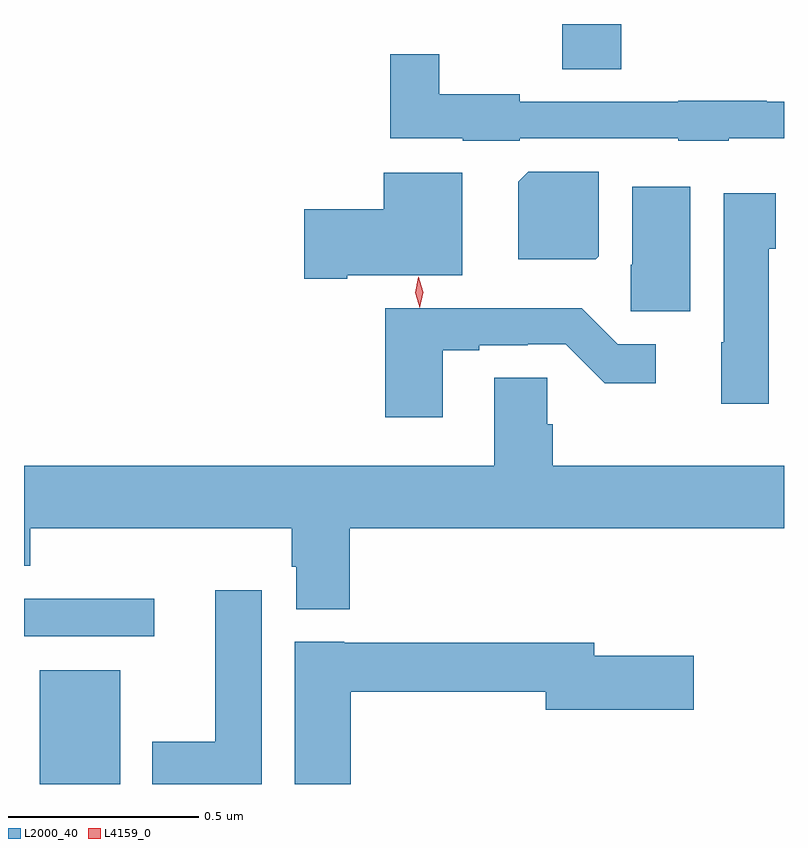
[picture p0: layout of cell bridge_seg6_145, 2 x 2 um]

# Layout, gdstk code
import gdstk
lib = gdstk.Library(unit=1e-6, precision=1e-09)
def R(c, l, rs):  # rectangles x0, y0, x1, y1
    for r in rs: c.add(gdstk.rectangle(r[:2], r[2:], *l))
def P(c, l, *ps):  # polygons
    for p in ps: c.add(gdstk.Polygon(p, *l))
L2000_40 = (2000, 40)
L4159_0 = (4159, 0)

bridge_seg6_145 = lib.new_cell('bridge_seg6_145')
R(bridge_seg6_145, L2000_40, [(568.052,929.347,568.264,929.647), (568.011,929.736,568.354,929.834), (569.428,931.228,569.583,931.347)])
P(bridge_seg6_145, L2000_40, [(569.316,931.047),(569.733,931.047),(569.733,931.04),(569.865,931.04),(569.865,931.046),(570.011,931.046),(570.011,931.143),(569.965,931.143),(569.965,931.145),(569.733,931.145),(569.733,931.143),(569.316,931.143),(569.316,931.162),(569.104,931.162),(569.104,931.267),(568.975,931.267),(568.975,931.046),(569.166,931.046),(569.166,931.04),(569.316,931.04)],
  [(569.524,930.736),(569.524,930.958),(569.338,930.958),(569.312,930.932),(569.312,930.728),(569.516,930.728)],
  [(568.862,930.686),(569.164,930.686),(569.164,930.956),(568.958,930.956),(568.958,930.86),(568.749,930.86),(568.749,930.677),(568.862,930.677)],
  [(569.764,930.919),(569.612,930.919),(569.612,930.714),(569.608,930.714),(569.608,930.591),(569.764,930.591)],
  [(569.971,930.756),(569.989,930.756),(569.989,930.901),(569.852,930.901),(569.852,930.51),(569.846,930.51),(569.846,930.348),(569.971,930.348)],
  [(569.113,930.489),(569.209,930.489),(569.209,930.501),(569.336,930.501),(569.336,930.504),(569.436,930.504),(569.539,930.402),(569.674,930.402),(569.674,930.504),(569.574,930.504),(569.479,930.599),(568.961,930.599),(568.961,930.312),(569.113,930.312)],
  [(568.868,930.02),(570.011,930.02),(570.011,930.184),(569.402,930.184),(569.402,930.294),(569.388,930.294),(569.388,930.416),(569.249,930.416),(569.249,930.184),(568.011,930.184),(568.011,929.921),(568.028,929.921),(568.028,930.02),(568.715,930.02),(568.715,929.919),(568.727,929.919),(568.727,929.807),(568.868,929.807)],
  [(568.636,929.857),(568.514,929.857),(568.514,929.458),(568.349,929.458),(568.349,929.347),(568.636,929.347)],
  [(568.871,929.59),(569.384,929.59),(569.384,929.543),(569.773,929.543),(569.773,929.685),(569.512,929.685),(569.512,929.719),(568.854,929.719),(568.854,929.722),(568.724,929.722),(568.724,929.347),(568.871,929.347)])
P(bridge_seg6_145, L4159_0, [(569.052,930.6),(569.041,930.64),(569.049,930.681),(569.05,930.682),(569.05,930.681),(569.061,930.641),(569.053,930.6),(569.053,930.6)])

lib.write_gds('bridge_seg6_145.gds')
